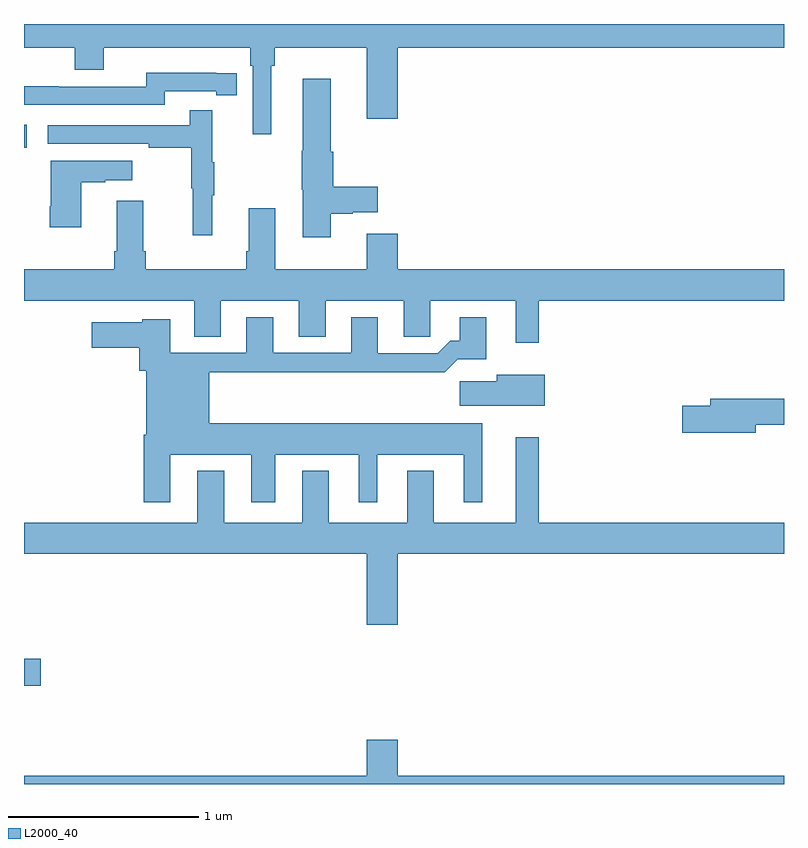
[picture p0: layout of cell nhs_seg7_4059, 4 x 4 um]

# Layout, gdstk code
import gdstk
lib = gdstk.Library(unit=1e-6, precision=1e-09)
def R(c, l, rs):  # rectangles x0, y0, x1, y1
    for r in rs: c.add(gdstk.rectangle(r[:2], r[2:], *l))
def P(c, l, *ps):  # polygons
    for p in ps: c.add(gdstk.Polygon(p, *l))
L2000_40 = (2000, 40)

nhs_seg7_4059 = lib.new_cell('nhs_seg7_4059')
R(nhs_seg7_4059, L2000_40, [(367,1070.518,367.087,1070.66), (367,1073.349,367.015,1073.47)])
P(nhs_seg7_4059, L2000_40, [(368.302,1073.78),(368.321,1073.78),(368.321,1073.876),(368.804,1073.876),(368.804,1073.502),(368.968,1073.502),(368.968,1073.876),(371,1073.876),(371,1074),(367,1074),(367,1073.876),(367.268,1073.876),(367.268,1073.759),(367.42,1073.759),(367.42,1073.876),(368.192,1073.876),(368.192,1073.78),(368.205,1073.78),(368.205,1073.421),(368.302,1073.421)],
  [(367.74,1073.646),(368.012,1073.646),(368.012,1073.626),(368.12,1073.626),(368.12,1073.742),(368.012,1073.742),(368.012,1073.743),(367.644,1073.743),(367.644,1073.67),(367.184,1073.67),(367.184,1073.672),(367,1073.672),(367,1073.574),(367.74,1073.574)],
  [(368.614,1073.002),(368.73,1073.002),(368.73,1073.009),(368.863,1073.009),(368.863,1073.144),(368.627,1073.144),(368.627,1073.327),(368.614,1073.327),(368.614,1073.713),(368.468,1073.713),(368.468,1073.333),(368.461,1073.333),(368.461,1073.127),(368.468,1073.127),(368.468,1072.878),(368.614,1072.878)],
  [(367.991,1073.099),(368.002,1073.099),(368.002,1073.273),(367.991,1073.273),(367.991,1073.545),(367.873,1073.545),(367.873,1073.466),(367.125,1073.466),(367.125,1073.37),(367.657,1073.37),(367.657,1073.35),(367.881,1073.35),(367.881,1073.136),(367.888,1073.136),(367.888,1072.887),(367.991,1072.887)],
  [(367.3,1073.167),(367.427,1073.167),(367.427,1073.177),(367.57,1073.177),(367.57,1073.281),(367.142,1073.281),(367.142,1073.041),(367.135,1073.041),(367.135,1072.929),(367.3,1072.929)],
  [(369.709,1072.544),(371,1072.544),(371,1072.708),(368.968,1072.708),(368.968,1072.897),(368.804,1072.897),(368.804,1072.708),(368.323,1072.708),(368.323,1073.029),(368.183,1073.029),(368.183,1072.804),(368.171,1072.804),(368.171,1072.708),(367.64,1072.708),(367.64,1072.804),(367.627,1072.804),(367.627,1073.071),(367.487,1073.071),(367.487,1072.804),(367.475,1072.804),(367.475,1072.708),(367,1072.708),(367,1072.544),(367.895,1072.544),(367.895,1072.354),(368.035,1072.354),(368.035,1072.544),(368.447,1072.544),(368.447,1072.354),(368.587,1072.354),(368.587,1072.544),(368.999,1072.544),(368.999,1072.354),(369.138,1072.354),(369.138,1072.544),(369.587,1072.544),(369.587,1072.323),(369.709,1072.323)],
  [(367.771,1071.734),(368.195,1071.734),(368.195,1071.483),(368.323,1071.483),(368.323,1071.734),(368.762,1071.734),(368.762,1071.483),(368.86,1071.483),(368.86,1071.734),(369.314,1071.734),(369.314,1071.483),(369.412,1071.483),(369.412,1071.898),(367.975,1071.898),(367.975,1072.168),(368.959,1072.168),(368.959,1072.166),(369.215,1072.166),(369.284,1072.235),(369.433,1072.235),(369.433,1072.456),(369.293,1072.456),(369.293,1072.333),(369.244,1072.333),(369.177,1072.266),(368.863,1072.266),(368.863,1072.456),(368.723,1072.456),(368.723,1072.269),(368.311,1072.269),(368.311,1072.456),(368.171,1072.456),(368.171,1072.269),(367.771,1072.269),(367.771,1072.447),(367.623,1072.447),(367.623,1072.429),(367.356,1072.429),(367.356,1072.295),(367.607,1072.295),(367.607,1072.176),(367.643,1072.176),(367.643,1071.838),(367.631,1071.838),(367.631,1071.483),(367.771,1071.483)],
  [(369.742,1072.153),(369.488,1072.153),(369.488,1072.121),(369.294,1072.121),(369.294,1071.992),(369.742,1071.992)],
  [(370.852,1071.892),(371,1071.892),(371,1072.028),(370.613,1072.028),(370.613,1071.992),(370.464,1071.992),(370.464,1071.85),(370.852,1071.85)],
  [(368.968,1071.212),(371,1071.212),(371,1071.376),(369.709,1071.376),(369.709,1071.826),(369.587,1071.826),(369.587,1071.376),(369.157,1071.376),(369.157,1071.649),(369.017,1071.649),(369.017,1071.376),(368.605,1071.376),(368.605,1071.649),(368.465,1071.649),(368.465,1071.376),(368.053,1071.376),(368.053,1071.649),(367.913,1071.649),(367.913,1071.376),(367,1071.376),(367,1071.212),(368.804,1071.212),(368.804,1070.838),(368.968,1070.838)],
  [(371,1070.044),(368.968,1070.044),(368.968,1070.233),(368.804,1070.233),(368.804,1070.044),(367,1070.044),(367,1070),(371,1070)])

lib.write_gds('nhs_seg7_4059.gds')
